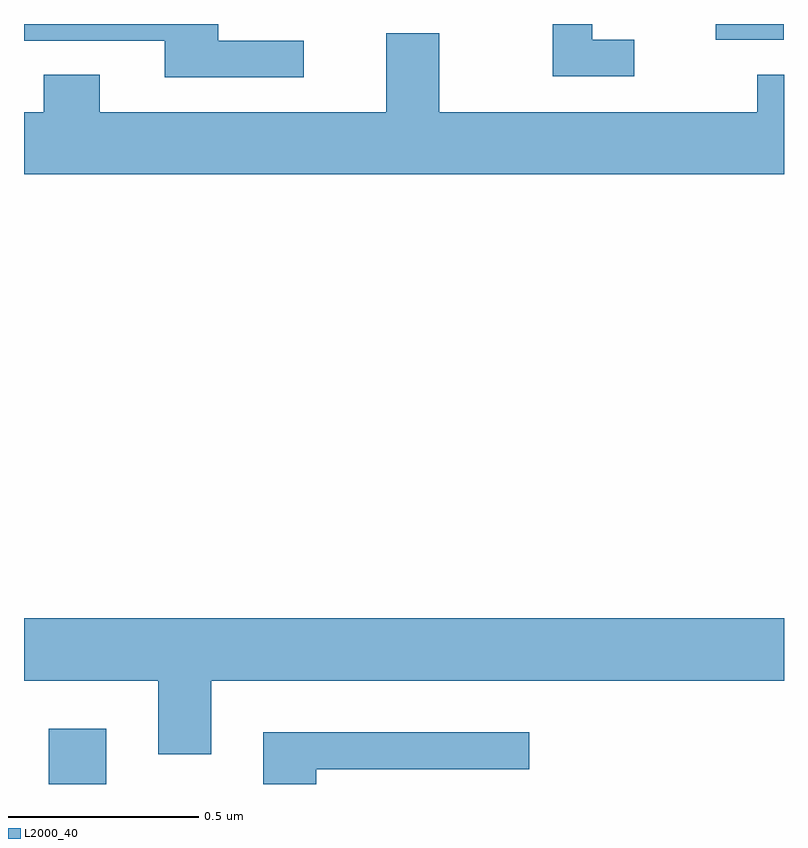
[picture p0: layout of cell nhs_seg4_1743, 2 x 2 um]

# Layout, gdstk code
import gdstk
lib = gdstk.Library(unit=1e-6, precision=1e-09)
def R(c, l, rs):  # rectangles x0, y0, x1, y1
    for r in rs: c.add(gdstk.rectangle(r[:2], r[2:], *l))
def P(c, l, *ps):  # polygons
    for p in ps: c.add(gdstk.Polygon(p, *l))
L2000_40 = (2000, 40)

nhs_seg4_1743 = lib.new_cell('nhs_seg4_1743')
R(nhs_seg4_1743, L2000_40, [(132.065,777.9,132.217,778.045), (133.82,779.858,133.999,779.9)])
P(nhs_seg4_1743, L2000_40, [(133.606,779.859),(133.495,779.859),(133.495,779.9),(133.391,779.9),(133.391,779.763),(133.606,779.763)],
  [(132.736,779.856),(132.511,779.856),(132.511,779.9),(132,779.9),(132,779.856),(132.371,779.856),(132.371,779.76),(132.736,779.76)],
  [(134,779.767),(133.93,779.767),(133.93,779.668),(133.093,779.668),(133.093,779.876),(132.953,779.876),(132.953,779.668),(132.199,779.668),(132.199,779.767),(132.052,779.767),(132.052,779.668),(132,779.668),(132,779.504),(134,779.504)],
  [(132.493,778.172),(134,778.172),(134,778.336),(132,778.336),(132,778.172),(132.353,778.172),(132.353,777.978),(132.493,777.978)],
  [(132.769,777.939),(133.33,777.939),(133.33,778.036),(132.629,778.036),(132.629,777.9),(132.769,777.9)])

lib.write_gds('nhs_seg4_1743.gds')
